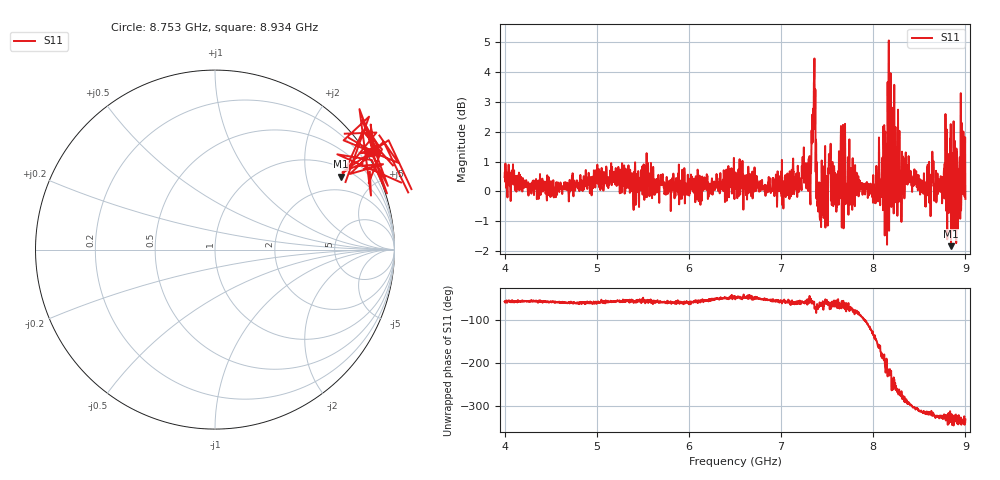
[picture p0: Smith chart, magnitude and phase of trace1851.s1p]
! Created with skrf 1.8.0 (http://scikit-rf.org).
# Hz S RI R 50.0
!freq ReS11 ImS11
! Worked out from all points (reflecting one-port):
!   1601 points, 4 GHz to 9 GHz, reference 50 ohm
!   lowest |S11| = -1.8 dB at 8.844 GHz (marker M1), VSWR 9.49, Z = 67.5 + j159 ohm
!   phase of S11 starts at -58 deg and turns -272 deg over the sweep
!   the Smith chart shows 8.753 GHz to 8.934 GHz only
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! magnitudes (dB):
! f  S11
! 4 GHz  0.5
! 4.625 GHz  -0.1
! 5.25 GHz  -0.1
! 5.875 GHz  0.1
! 6.5 GHz  0.3
! 7.125 GHz  0.1
! 7.3 GHz  1.1
! 7.356 GHz  3.7
! 7.409 GHz  -0.4
! 7.538 GHz  1.6
! 7.609 GHz  0.2
! 7.672 GHz  2.2
! 7.75 GHz  0.4
! 8.034 GHz  0.9
! 8.128 GHz  1.9
! 8.144 GHz  -1.3
! 8.159 GHz  2.3
! 8.178 GHz  2.8
! 8.197 GHz  -0.5
! 8.203 GHz  2.8
! 8.253 GHz  1.2
! 8.316 GHz  1.1
! 8.375 GHz  0.3
! 8.556 GHz  0.0
! 8.844 GHz  -1.8
! 8.919 GHz  0.1
! 8.972 GHz  0.3
! 9 GHz  -0.3
